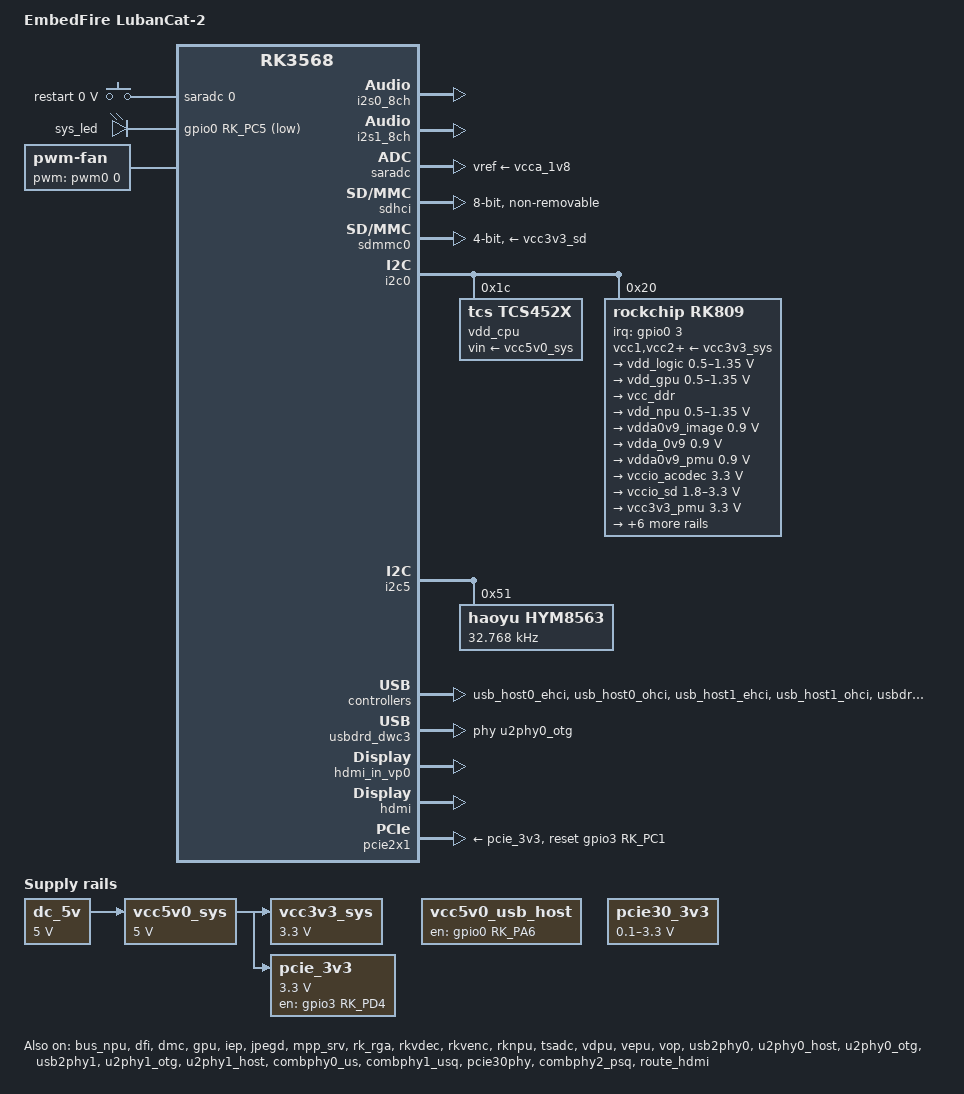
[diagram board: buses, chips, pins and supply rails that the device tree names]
// SPDX-License-Identifier: (GPL-2.0+ OR MIT)
 /dts-v1/;

#include <dt-bindings/gpio/gpio.h>
#include <dt-bindings/pwm/pwm.h>
#include <dt-bindings/pinctrl/rockchip.h>
//#include <dt-bindings/input/rk-input.h>
#include <dt-bindings/input/linux-event-codes.h>
#include <dt-bindings/display/drm_mipi_dsi.h>
#include <dt-bindings/display/rockchip_vop.h>
#include <dt-bindings/sensor-dev.h>
#include <dt-bindings/phy/jlsemi-dt-phy.h>
#include "rk3568.dtsi"
#include "rk3568-linux.dtsi"

/ {
	model = "EmbedFire LubanCat-2";
	compatible = "embedfire,lubancat-2-v3", "rockchip,rk3568";

    reserved-memory {
		#address-cells = <2>;
		#size-cells = <2>;
		ranges;
		ramoops: ramoops@110000 {
			compatible = "ramoops";
			reg = <0x0 0x110000 0x0 0xf0000>;
			record-size = <0x20000>;
			console-size = <0x80000>;
			ftrace-size = <0x00000>;
			pmsg-size = <0x50000>;
		};

		abc: abc@80900000{
			reg = <0x0 0x80900000 0x0 0x100000>;
		};
	};

    adc_keys: adc-keys {
		compatible = "adc-keys";
		io-channels = <&saradc 0>;
		io-channel-names = "buttons";
		keyup-threshold-microvolt = <1800000>;
		poll-interval = <100>;

		restart-key {
			label = "restart";
			linux,code = <KEY_RESTART>;
			press-threshold-microvolt = <9>;
		};
	};

    dc_5v: dc-5v {
		compatible = "regulator-fixed";
		regulator-name = "dc_5v";
		regulator-always-on;
		regulator-boot-on;
		regulator-min-microvolt = <5000000>;
		regulator-max-microvolt = <5000000>;
	};

	vcc5v0_sys: vcc5v0-sys {
		compatible = "regulator-fixed";
		regulator-name = "vcc5v0_sys";
		regulator-always-on;
		regulator-boot-on;
		regulator-min-microvolt = <5000000>;
		regulator-max-microvolt = <5000000>;
		vin-supply = <&dc_5v>;
	};

	vcc3v3_sys: vcc3v3-sys {
		compatible = "regulator-fixed";
		regulator-name = "vcc3v3_sys";
		regulator-always-on;
		regulator-boot-on;
		regulator-min-microvolt = <3300000>;
		regulator-max-microvolt = <3300000>;
		vin-supply = <&vcc5v0_sys>;
	};

	vcc5v0_usb_host: vcc5v0-usb20-host-regulator {
		compatible = "regulator-fixed";
		enable-active-high;
		gpio = <&gpio0 RK_PA6 GPIO_ACTIVE_HIGH>;
		pinctrl-names = "default";
		pinctrl-0 = <&vcc5v0_usb_host_en>;
		regulator-name = "vcc5v0_usb_host";
		regulator-always-on;
	};

	pcie_3v3: mini-pcie-3v3-regulator {
		compatible = "regulator-fixed";
		regulator-name = "pcie_3v3";
		regulator-min-microvolt = <3300000>;
		regulator-max-microvolt = <3300000>;
		enable-active-high;
		regulator-always-on;
		gpio = <&gpio3 RK_PD4 GPIO_ACTIVE_HIGH>;
		startup-delay-us = <5000>;
		vin-supply = <&vcc5v0_sys>;
	};

	pcie30_3v3: gpio-regulator {
		compatible = "regulator-gpio";
		regulator-name = "pcie30_3v3";
		regulator-min-microvolt = <100000>;
		regulator-max-microvolt = <3300000>;
		// gpios = <&gpio0 RK_PD4 GPIO_ACTIVE_HIGH>;
		gpios-states = <0x1>;
		states = <100000 0x0
			  3300000 0x1>;
	};

	leds: leds {
		status = "okay";
		compatible = "gpio-leds";

		sys_led: sys-led {
			label = "sys_led";
			linux,default-trigger = "heartbeat";
			default-state = "on";
			gpios = <&gpio0 RK_PC5 GPIO_ACTIVE_LOW>;
			pinctrl-names = "default";
			pinctrl-0 = <&sys_led_pin>;
            //gpio 0 RK_PC0
		};
	};

	fan: pwm-fan {
		compatible = "pwm-fan";
		#cooling-cells = <2>;
		pwms = <&pwm0 0 50000 0>;
		cooling-levels = <0 100 150 200 255>;
		rockchip,temp-trips = <
			40000	1
			45000	2
			50000	3
			55000	4
		>;
	};

	rk809_sound: rk809-sound {
		status = "okay";
		compatible = "rockchip,multicodecs-card";
		rockchip,card-name = "rockchip-rk809";
		rockchip,format = "i2s";
		rockchip,mclk-fs = <256>;
		rockchip,cpu = <&i2s1_8ch>;
		rockchip,codec = <&rk809_codec>;
	};

    hdmi_sound: hdmi-sound {
		compatible = "simple-audio-card";
		simple-audio-card,format = "i2s";
		simple-audio-card,mclk-fs = <128>;
		simple-audio-card,name = "rockchip,hdmi";
		status = "okay";

		simple-audio-card,cpu {
			sound-dai = <&i2s0_8ch>;
		};
		simple-audio-card,codec {
			sound-dai = <&hdmi>;
		};
	};





	test-power {
		status = "okay";
	};

};

&i2s0_8ch {
	status = "okay";
};


&i2s1_8ch {
	status = "okay";
	rockchip,trcm-sync-tx-only;
	pinctrl-names = "default";
	pinctrl-0 = <&i2s1m0_sclktx
		     &i2s1m0_lrcktx
		     &i2s1m0_sdi0
		     &i2s1m0_sdo0>;
};


&pmu_io_domains {
	status = "okay";
    pmuio1-supply = <&vcc3v3_pmu>;
	pmuio2-supply = <&vcc3v3_pmu>;
	vccio1-supply = <&vccio_acodec>;//"vccio_acodec";
	vccio3-supply = <&vccio_sd>;///regulator-name = "vccio_sd";
	vccio4-supply = <&vcc_1v8>;//regulator-name = "vcc_1v8";
	vccio5-supply = <&vcc_3v3>;//regulator-name = "vcc_3v3";
	vccio6-supply = <&vcc_1v8>;//regulator-name = "vcc_1v8";
	vccio7-supply = <&vcc_3v3>;//regulator-name = "vcc_3v3";
};


&bus_npu {
	bus-supply = <&vdd_logic>;
	pvtm-supply = <&vdd_cpu>;
	status = "okay";
};


&cpu0 {
	cpu-supply = <&vdd_cpu>;
};

&dfi {
	status = "okay";
};

&dmc {
	center-supply = <&vdd_logic>;
	status = "okay";
};

&gpu {
	mali-supply = <&vdd_gpu>;
	status = "okay";
};


&iep {
	status = "okay";
};

&iep_mmu {
	status = "okay";
};

&jpegd {
	status = "okay";
};

&jpegd_mmu {
	status = "okay";
};

&mpp_srv {
	status = "okay";
};

&rk_rga {
	status = "okay";
};

&rkvdec {
	status = "okay";
};

&rkvdec_mmu {
	status = "okay";
};

&rkvenc {
	venc-supply = <&vdd_logic>;
	status = "okay";
};

&rkvenc_mmu {
	status = "okay";
};

&rknpu {
	rknpu-supply = <&vdd_npu>;
	status = "okay";
};

&rknpu_mmu {
	status = "okay";
};

&rockchip_suspend {
	compatible = "rockchip,pm-rk3568";
	rockchip,sleep-debug-en = <1>;
	rockchip,sleep-mode-config = <
		(0
		| RKPM_SLP_ARMOFF_LOGOFF
		| RKPM_SLP_CENTER_OFF
		| RKPM_SLP_HW_PLLS_OFF
//		| RKPM_SLP_PMUALIVE_32K
		| RKPM_SLP_OSC_DIS
		| RKPM_SLP_PMIC_LP
		| RKPM_SLP_32K_PVTM
		)
	>;
	rockchip,wakeup-config = <
		(0
		| RKPM_GPIO_WKUP_EN
		| RKPM_PWM0_WKUP_EN
		)
	>;
};

&saradc {
	vref-supply = <&vcca_1v8>;
	status = "okay";
};

&sdhci {
	bus-width = <8>;
	supports-emmc;
	non-removable;
	max-frequency = <200000000>;
	mmc-hs200-1_8v;
	status = "okay";
};

&sdmmc0 {
	max-frequency = <150000000>;
	supports-sd;
	bus-width = <4>;
	cap-mmc-highspeed;
	cap-sd-highspeed;
	disable-wp;
	sd-uhs-sdr104;
	vmmc-supply = <&vcc3v3_sd>;
	vqmmc-supply = <&vccio_sd>;
	pinctrl-names = "default";
	pinctrl-0 = <&sdmmc0_bus4 &sdmmc0_clk &sdmmc0_cmd &sdmmc0_det>;
	status = "okay";
};

&tsadc {
	status = "okay";
};

&vdpu {
	status = "okay";
};

&vdpu_mmu {
	status = "okay";
};

&vepu {
	status = "okay";
};

&vepu_mmu {
	status = "okay";
};

&i2c0 {
	status = "okay";

	vdd_cpu: tcs4525@1c {
		compatible = "tcs,tcs452x";
		reg = <0x1c>;
		vin-supply = <&vcc5v0_sys>;
		regulator-compatible = "fan53555-reg";
		regulator-name = "vdd_cpu";
		regulator-min-microvolt = <712500>;
		regulator-max-microvolt = <1390000>;
		regulator-ramp-delay = <2300>;
		fcs,suspend-voltage-selector = <1>;
		regulator-boot-on;
		regulator-always-on;
		regulator-state-mem {
			regulator-off-in-suspend;
		};
	};

	rk809: pmic@20 {
		compatible = "rockchip,rk809";
		reg = <0x20>;
		interrupt-parent = <&gpio0>;
		interrupts = <3 IRQ_TYPE_LEVEL_LOW>;

		pinctrl-names = "default", "pmic-sleep",
						"pmic-power-off", "pmic-reset";
		pinctrl-0 = <&pmic_int>;
		pinctrl-1 = <&soc_slppin_slp>, <&rk817_slppin_slp>;
		pinctrl-2 = <&soc_slppin_gpio>, <&rk817_slppin_pwrdn>;
		pinctrl-3 = <&soc_slppin_gpio>, <&rk817_slppin_rst>;

		rockchip,system-power-controller;
		wakeup-source;
		#clock-cells = <1>;
		clock-output-names = "rk808-clkout1", "rk808-clkout2";
		//fb-inner-reg-idxs = <2>;
		/* 1: rst regs (default in codes), 0: rst the pmic */
		pmic-reset-func = <0>;
		/* not save the PMIC_POWER_EN register in uboot */
		not-save-power-en = <1>;

		vcc1-supply = <&vcc3v3_sys>;
		vcc2-supply = <&vcc3v3_sys>;
		vcc3-supply = <&vcc3v3_sys>;
		vcc4-supply = <&vcc3v3_sys>;
		vcc5-supply = <&vcc3v3_sys>;
		vcc6-supply = <&vcc3v3_sys>;
		vcc7-supply = <&vcc3v3_sys>;
		vcc8-supply = <&vcc3v3_sys>;
		vcc9-supply = <&vcc3v3_sys>;

		pwrkey {
			status = "okay";
		};

		pinctrl_rk8xx: pinctrl_rk8xx {
			gpio-controller;
			#gpio-cells = <2>;

			rk817_slppin_null: rk817_slppin_null {
				pins = "gpio_slp";
				function = "pin_fun0";
			};

			rk817_slppin_slp: rk817_slppin_slp {
				pins = "gpio_slp";
				function = "pin_fun1";
			};

			rk817_slppin_pwrdn: rk817_slppin_pwrdn {
				pins = "gpio_slp";
				function = "pin_fun2";
			};

			rk817_slppin_rst: rk817_slppin_rst {
				pins = "gpio_slp";
				function = "pin_fun3";
			};
		};

		regulators {
			vdd_logic: DCDC_REG1 {
				regulator-always-on;
				regulator-boot-on;
				regulator-min-microvolt = <500000>;
				regulator-max-microvolt = <1350000>;
				regulator-init-microvolt = <900000>;
				regulator-ramp-delay = <6001>;
				regulator-initial-mode = <0x2>;
				regulator-name = "vdd_logic";
				regulator-state-mem {
					regulator-off-in-suspend;
				};
			};

			vdd_gpu: DCDC_REG2 {
				regulator-always-on;
				regulator-boot-on;
				regulator-min-microvolt = <500000>;
				regulator-max-microvolt = <1350000>;
				regulator-init-microvolt = <900000>;
				regulator-ramp-delay = <6001>;
				regulator-initial-mode = <0x2>;
				regulator-name = "vdd_gpu";
				regulator-state-mem {
					regulator-off-in-suspend;
				};
			};

			vcc_ddr: DCDC_REG3 {
				regulator-always-on;
				regulator-boot-on;
				regulator-initial-mode = <0x2>;
				regulator-name = "vcc_ddr";
				regulator-state-mem {
					regulator-on-in-suspend;
				};
			};

			vdd_npu: DCDC_REG4 {
				regulator-always-on;
				regulator-boot-on;
				regulator-min-microvolt = <500000>;
				regulator-max-microvolt = <1350000>;
				regulator-init-microvolt = <900000>;
				regulator-ramp-delay = <6001>;
				regulator-initial-mode = <0x2>;
				regulator-name = "vdd_npu";
				regulator-state-mem {
					regulator-off-in-suspend;
				};
			};

			vdda0v9_image: LDO_REG1 {
				regulator-boot-on;
				regulator-always-on;
				regulator-min-microvolt = <900000>;
				regulator-max-microvolt = <900000>;
				regulator-name = "vdda0v9_image";
				regulator-state-mem {
					regulator-off-in-suspend;
				};
			};

			vdda_0v9: LDO_REG2 {
				regulator-always-on;
				regulator-boot-on;
				regulator-min-microvolt = <900000>;
				regulator-max-microvolt = <900000>;
				regulator-name = "vdda_0v9";
				regulator-state-mem {
					regulator-off-in-suspend;
				};
			};

			vdda0v9_pmu: LDO_REG3 {
				regulator-always-on;
				regulator-boot-on;
				regulator-min-microvolt = <900000>;
				regulator-max-microvolt = <900000>;
				regulator-name = "vdda0v9_pmu";
				regulator-state-mem {
					regulator-on-in-suspend;
					regulator-suspend-microvolt = <900000>;
				};
			};

			vccio_acodec: LDO_REG4 {
				regulator-always-on;
				regulator-boot-on;
				regulator-min-microvolt = <3300000>;
				regulator-max-microvolt = <3300000>;
				regulator-name = "vccio_acodec";
				regulator-state-mem {
					regulator-off-in-suspend;
				};
			};

			vccio_sd: LDO_REG5 {
				regulator-always-on;
				regulator-boot-on;
				regulator-min-microvolt = <1800000>;
				regulator-max-microvolt = <3300000>;
				regulator-name = "vccio_sd";
				regulator-state-mem {
					regulator-off-in-suspend;
				};
			};

			vcc3v3_pmu: LDO_REG6 {
				regulator-always-on;
				regulator-boot-on;
				regulator-min-microvolt = <3300000>;
				regulator-max-microvolt = <3300000>;
				regulator-name = "vcc3v3_pmu";
				regulator-state-mem {
					regulator-on-in-suspend;
					regulator-suspend-microvolt = <3300000>;
				};
			};

			vcca_1v8: LDO_REG7 {
				regulator-always-on;
				regulator-boot-on;
				regulator-min-microvolt = <1800000>;
				regulator-max-microvolt = <1800000>;
				regulator-name = "vcca_1v8";
				regulator-state-mem {
					regulator-off-in-suspend;
				};
			};

			vcca1v8_pmu: LDO_REG8 {
				regulator-always-on;
				regulator-boot-on;
				regulator-min-microvolt = <1800000>;
				regulator-max-microvolt = <1800000>;
				regulator-name = "vcca1v8_pmu";
				regulator-state-mem {
					regulator-on-in-suspend;
					regulator-suspend-microvolt = <1800000>;
				};
			};

			vcca1v8_image: LDO_REG9 {
				regulator-always-on;
				regulator-boot-on;
				regulator-min-microvolt = <1800000>;
				regulator-max-microvolt = <1800000>;
				regulator-name = "vcca1v8_image";
				regulator-state-mem {
					regulator-off-in-suspend;
				};
			};

			vcc_1v8: DCDC_REG5 {
				regulator-always-on;
				regulator-boot-on;
				regulator-min-microvolt = <1800000>;
				regulator-max-microvolt = <1800000>;
				regulator-name = "vcc_1v8";
				regulator-state-mem {
					regulator-off-in-suspend;
				};
			};

			vcc_3v3: SWITCH_REG1 {
				regulator-always-on;
				regulator-boot-on;
				regulator-name = "vcc_3v3";
				regulator-state-mem {
					regulator-off-in-suspend;
				};
			};

			vcc3v3_sd: SWITCH_REG2 {
				regulator-always-on;
				regulator-boot-on;
				regulator-name = "vcc3v3_sd";
				regulator-state-mem {
					regulator-off-in-suspend;
				};
			};
		};

		rk809_codec: codec {
			#sound-dai-cells = <0>;
			compatible = "rockchip,rk809-codec", "rockchip,rk817-codec";
			clocks = <&cru I2S1_MCLKOUT_TX>;
			clock-names = "mclk";
			assigned-clocks = <&cru I2S1_MCLKOUT_TX>, <&cru I2S1_MCLK_TX_IOE>;
			assigned-clock-rates = <12288000>;
			assigned-clock-parents = <&cru CLK_I2S1_8CH_TX>, <&cru I2S1_MCLKOUT_TX>;
			pinctrl-names = "default";
			pinctrl-0 = <&i2s1m0_mclk>;
			hp-volume = <20>;
			spk-volume = <3>;
			//mic-in-differential;
			status = "okay";
		};
	};
};

&rk809 {
	rk809_rtc: rtc {
		status = "disabled";
	};
};


&i2c5 {
	hym8563: hym8563@51 {
		compatible = "haoyu,hym8563";
		status = "okay";
		reg = <0x51>;
		#clock-cells = <0>;
		clock-frequency = <32768>;
		clock-output-names = "hym8563";
	};
};


&vop {
	status = "okay";
	assigned-clocks = <&cru DCLK_VOP0>, <&cru DCLK_VOP1>;
	assigned-clock-parents = <&pmucru PLL_HPLL>, <&cru PLL_VPLL>;
};

&vop_mmu {
	status = "okay";
};

&vp0 {
	rockchip,plane-mask = <(1 << ROCKCHIP_VOP2_CLUSTER0 | 1 << ROCKCHIP_VOP2_ESMART0 | 1 << ROCKCHIP_VOP2_SMART0)>;
	rockchip,primary-plane = <ROCKCHIP_VOP2_SMART0>;
	// cursor-win-id = <ROCKCHIP_VOP2_CLUSTER0>;
};

&vp1 {
	rockchip,plane-mask = <(1 << ROCKCHIP_VOP2_CLUSTER1 | 1 << ROCKCHIP_VOP2_ESMART1 | 1 << ROCKCHIP_VOP2_SMART1)>;
	rockchip,primary-plane = <ROCKCHIP_VOP2_SMART1>;
	// cursor-win-id = <ROCKCHIP_VOP2_CLUSTER1>;
};

/* USB OTG/USB Host_1 USB 2.0 Comb */
&usb2phy0 {
	status = "okay";
};

&u2phy0_host {
	phy-supply = <&vcc5v0_usb_host>;
	status = "okay";
};

&u2phy0_otg {
	vbus-supply = <&vcc5v0_usb_host>;
	status = "okay";
};

&usb_host0_ehci {
	status = "okay";
};

&usb_host0_ohci {
	status = "okay";
};

/* USB Host_2/USB Host_3 USB 2.0 Comb */
&usb2phy1 {
	status = "okay";
};

&u2phy1_otg {
	phy-supply = <&vcc5v0_usb_host>;
	status = "okay";
};

&u2phy1_host {
	status = "okay";
};

&usb_host1_ehci {
	status = "okay";
};

&usb_host1_ohci {
	status = "okay";
};

/* MULTI_PHY0 For SATA0, USB3.0 OTG Only USB2.0 */
&combphy0_us {
	status = "okay";
};

&usbdrd30 {
	status = "okay";
};

&usbdrd_dwc3 {
	phys = <&u2phy0_otg>;
	phy-names = "usb2-phy";
	extcon = <&usb2phy0>;
	maximum-speed = "high-speed";
	snps,dis_u2_susphy_quirk;
	snps,usb2-lpm-disable;
	status = "okay";
};

// &sata0 {
// 	status = "okay";
// };

/* USB3.0 Host */
&combphy1_usq {
	status = "okay";
};

&usbhost30 {
	status = "okay";
};

&usbhost_dwc3 {
	status = "okay";
};


&pcie30phy {
	status = "okay";
};


&combphy2_psq {
	status = "okay";
};

&route_hdmi {
	status = "okay";
	connect = <&vp0_out_hdmi>;
};

&hdmi_in_vp0 {
	status = "okay";
};

&hdmi_in_vp1 {
	status = "disabled";
};

&hdmi {
	status = "okay";
};

&pcie30phy {
	status = "okay";
};

// &pcie3x2 {
// 	reset-gpios = <&gpio2 RK_PD6 GPIO_ACTIVE_HIGH>;
// 	vpcie3v3-supply = <&pcie30_3v3>;
// 	status = "okay";
// };

/* PCIE ETH */
&pcie2x1 {
	reset-gpios = <&gpio3 RK_PC1 GPIO_ACTIVE_HIGH>;
	vpcie3v3-supply = <&pcie_3v3>;
	status = "okay";
};


&pinctrl {
	pmic {
		pmic_int: pmic_int {
			rockchip,pins =
				<0 RK_PA3 RK_FUNC_GPIO &pcfg_pull_up>;
		};

		soc_slppin_gpio: soc_slppin_gpio {
			rockchip,pins =
				<0 RK_PA2 RK_FUNC_GPIO &pcfg_output_low_pull_down>;
		};

		soc_slppin_slp: soc_slppin_slp {
			rockchip,pins =
				<0 RK_PA2 RK_FUNC_1 &pcfg_pull_up>;
		};

		soc_slppin_rst: soc_slppin_rst {
			rockchip,pins =
				<0 RK_PA2 RK_FUNC_2 &pcfg_pull_none>;
		};

		spk_ctl_gpio: spk_ctl_gpio {
			rockchip,pins =
				<3 RK_PC5 RK_FUNC_GPIO &pcfg_pull_up>;
		};
	};

	usb {
		vcc5v0_usb_host_en: vcc5v0-usb-host-en {
			rockchip,pins = <0 RK_PC6 RK_FUNC_GPIO &pcfg_pull_none>;
		};
	};

	leds {
		sys_led_pin: sys-led-pin {
			rockchip,pins = <0 RK_PC5 RK_FUNC_GPIO &pcfg_pull_none>;
		};
	};

	// pcie {
	// 	pcie_disable_gpio: pcie-disable-gpio {
	// 		rockchip,pins = <3 RK_PC2 RK_FUNC_GPIO &pcfg_pull_up>;
	// 	};
	// };
};
